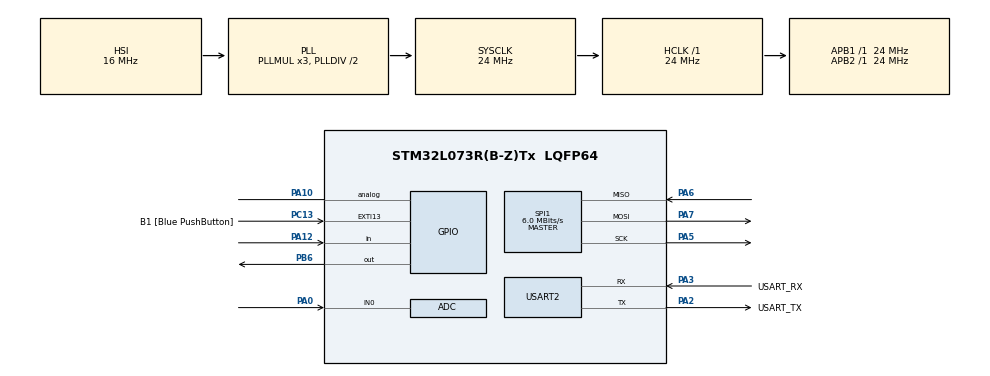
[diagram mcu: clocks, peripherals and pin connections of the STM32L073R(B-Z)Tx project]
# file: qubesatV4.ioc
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Mcu.Family=STM32L0
Mcu.Name=STM32L073R(B-Z)Tx
Mcu.Package=LQFP64
PA0.Mode=IN0
PA0.Signal=ADC_IN0
PA10.Signal=GPIO_Analog
PA12.Signal=GPIO_Input
PA13.GPIO_Label=TMS
PA13.Mode=Serial_Wire
PA13.Signal=SYS_SWDIO
PA14.GPIO_Label=TCK
PA14.Mode=Serial_Wire
PA14.Signal=SYS_SWCLK
PA2.GPIO_Label=USART_TX
PA2.Mode=Asynchronous
PA2.Signal=USART2_TX
PA3.GPIO_Label=USART_RX
PA3.Mode=Asynchronous
PA3.Signal=USART2_RX
PA5.Mode=Full_Duplex_Master
PA5.Signal=SPI1_SCK
PA6.Mode=Full_Duplex_Master
PA6.Signal=SPI1_MISO
PA7.Mode=Full_Duplex_Master
PA7.Signal=SPI1_MOSI
PB6.Signal=GPIO_Output
PC13.GPIO_Label=B1 [Blue PushButton]
PC13.GPIO_ModeDefaultEXTI=GPIO_MODE_IT_FALLING
PC13.Signal=GPXTI13
PC14-OSC32_IN.Mode=LSE-External-Oscillator
PC14-OSC32_IN.Signal=RCC_OSC32_IN
PC15-OSC32_OUT.Mode=LSE-External-Oscillator
PC15-OSC32_OUT.Signal=RCC_OSC32_OUT
PH0-OSC_IN.GPIO_Label=MCO
PH0-OSC_IN.Mode=HSE-External-Clock-Source
PH0-OSC_IN.Signal=RCC_OSC_IN
ProjectManager.HeapSize=0x200
ProjectManager.StackSize=0x400
ProjectManager.TargetToolchain=STM32CubeIDE
RCC.AHBFreq_Value=24000000
RCC.APB1Freq_Value=24000000
RCC.APB1TimFreq_Value=24000000
RCC.APB2Freq_Value=24000000
RCC.APB2TimFreq_Value=24000000
RCC.HCLKFreq_Value=24000000
RCC.HSE_VALUE=8000000
RCC.HSI16_VALUE=16000000
RCC.HSI48_VALUE=48000000
RCC.HSI_VALUE=16000000
RCC.MSI_VALUE=2097000
RCC.SYSCLKFreq_VALUE=24000000
RCC.SYSCLKSource=RCC_SYSCLKSOURCE_PLLCLK
RCC.VCOOutputFreq_Value=48000000
SPI1.BaudRatePrescaler=SPI_BAUDRATEPRESCALER_4
SPI1.CLKPhase=SPI_PHASE_1EDGE
SPI1.CLKPolarity=SPI_POLARITY_HIGH
SPI1.CalculateBaudRate=6.0 MBits/s
SPI1.DataSize=SPI_DATASIZE_8BIT
SPI1.Direction=SPI_DIRECTION_2LINES
SPI1.Mode=SPI_MODE_MASTER
SPI1.VirtualType=VM_MASTER
USART2.VirtualMode-Asynchronous=VM_ASYNC
board=NUCLEO-L073RZ

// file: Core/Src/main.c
/* USER CODE BEGIN Header */

/**
 ******************************************************************************
 * @file           : main.c
 * @brief          : Main program body
 ******************************************************************************
 * @attention
 *
 * <h2><center>&copy; Copyright (c) 2021 STMicroelectronics.
 * All rights reserved.</center></h2>
 *
 * This software component is licensed by ST under BSD 3-Clause license,
 * the "License"; You may not use this file except in compliance with the
 * License. You may obtain a copy of the License at:
 *                        opensource.org/licenses/BSD-3-Clause
 *
 ******************************************************************************
 */

/* USER CODE END Header */

#include "main.h"

/* USER CODE BEGIN Includes */

#include <stdarg.h>
#include <stdio.h>

/* USER CODE END Includes */

ADC_HandleTypeDef hadc;

SPI_HandleTypeDef hspi1;

UART_HandleTypeDef huart2;

void SystemClock_Config(void);

static void MX_GPIO_Init(void);

static void MX_USART2_UART_Init(void);

static void MX_SPI1_Init(void);

static void MX_ADC_Init(void);

/* User defined functions */

int measure_at_frequency(int frequency);

void printf_to_uart(char *format, ...);

void print_data_to_uart(unsigned *data, int len);

int main(void) {

    /* MCU
     * Configuration--------------------------------------------------------*/

    /* Reset of all peripherals, Initializes the Flash interface and the
     * Systick. */

    HAL_Init();

    /* Configure the system clock */

    SystemClock_Config();

    /* Initialize all configured peripherals */

    MX_GPIO_Init();
    MX_USART2_UART_Init();
    MX_SPI1_Init();
    MX_ADC_Init();

    /* USER CODE BEGIN 2 */

    // CS pin should default high

    HAL_GPIO_WritePin(GPIOB, GPIO_PIN_6, GPIO_PIN_SET);

    printf_to_uart("Starting SPI Test\r\n");

    HAL_Delay(500);  // Waiting for default register initialization of RF
                     // generator (synchronous turn on)

    Initialize_Microwave_Generator();

    // Maximum gain

    sendBytes(0x4DB8, 0b00101000);

    // Set divider to 1

    sendBytes(0x90, 0b00101000);

    // Ref Divider Register-Default value = 1h (Rdiv=1).

    sendBytes(0x1, 0b00010000);

    /// Make sure to remove!!

    // Set_VCO_Out_Divider(20);

    /* USER CODE END 2 */

    int num_cycles = 10;
    int samples_per_freq = 100;
    int freq_steps = 151;
    int start_frequency = 2800;
    int end_frequency = 2950;
    int step_size = (end_frequency - start_frequency + 1) / freq_steps;
    int set_freq;

    int contrast_arr_len = freq_steps * sizeof(unsigned);
    unsigned *contrast_arr;
    long unsigned high_sum;
    long unsigned low_sum;
    /* Infinite loop */

    /* USER CODE BEGIN WHILE */

    // int ms1 = HAL_GetTick();

    for (unsigned i = 0; i < num_cycles; i++) {
        set_freq = start_frequency;
        contrast_arr = (unsigned *)malloc(contrast_arr_len);
        for (unsigned j = 0; set_freq <= end_frequency; j++) {
            set_freq += step_size;
            high_sum = 0;
            low_sum = 0;
            for (unsigned sample_count = 0; sample_count < samples_per_freq;
                 sample_count++) {
                low_sum += measure_at_frequency(1500);
            }
            Set_VCO_Frequency(set_freq);
            HAL_Delay(10);
            for (unsigned sample_count = 0; sample_count < samples_per_freq;
                 sample_count++) {
                high_sum += measure_at_frequency(set_freq);
            }
            Set_VCO_Frequency(1500);
            contrast_arr[j] = (unsigned)(((float) high_sum / (samples_per_freq * low_sum)) * 1e9);

            // printf_to_uart("%d\r\n", contrast_arr[j]);
        }
        // HAL_UART_Transmit(&huart2, (uint8_t *)contrast_arr, contrast_arr_len,
        //   HAL_MAX_DELAY); // for production

        print_data_to_uart(contrast_arr, freq_steps);  // for testing

        // for (unsigned i = 0; i < freq_steps; i++)
        //     printf_to_uart("%d\r\n", contrast_arr[i]);  // for testing
    }

    // int ms2 = HAL_GetTick();
    // printf_to_uart("%d \r\n", ms2 - ms1);

    Set_VCO_Frequency(1500);
}

/* Does the measurement at arbitrary frequency and returns the photodiode
 * output. */
int measure_at_frequency(int frequency) {
    Set_VCO_Frequency(frequency);

    HAL_ADC_Start(&hadc);
    HAL_ADC_PollForConversion(&hadc, HAL_MAX_DELAY);
    return HAL_ADC_GetValue(&hadc);
}

/* Prints data to UART, usage is just like printf. */
void printf_to_uart(char *format, ...) {
    char print_buf[100] = {0};  // allocate a larger buffer
    char uart_buf[50] = {0};
    int print_len;

    va_list args;
    va_start(args, format);
    print_len = vsnprintf(print_buf, sizeof(print_buf), format, args);
    va_end(args);

    // copy the relevant portion of the print buffer to uart buffer
    int uart_buf_len = (print_len > 50) ? 50 : print_len;
    memcpy(uart_buf, print_buf, uart_buf_len);

    HAL_UART_Transmit(&huart2, (uint8_t *)uart_buf, uart_buf_len,
                      HAL_MAX_DELAY);
}

/* Prints 32-bit uint array to UART with newlines in between.
 * Prints 30 ints at a time. Slow but only used for testing.
 */
void print_data_to_uart(unsigned *data, int len) {
    unsigned MAX_INTS_PER_TRANSMIT = 30;  // pulled this out my ass ngl

    char buf[500];  // Create a buffer for the formatted string
    char uart_buf[500];

    for (unsigned printed = 0; printed < len;
         printed += MAX_INTS_PER_TRANSMIT) {
        for (unsigned i = 0; i < 500; i++) buf[i] = 0;
        for (unsigned i = 0; i < 500; i++) uart_buf[i] = 0;

        int l = 0;  // Keep track of the length of the formatted string
        int n;  // Keep track of the number of characters added to the formatted
                // string

        // Add each array element to the formatted string
        unsigned to_transmit = MAX_INTS_PER_TRANSMIT;
        if (len - printed < MAX_INTS_PER_TRANSMIT) {
            to_transmit = len - printed;
        }
        for (unsigned i = printed; i < printed + to_transmit; i++) {
            n = sprintf(buf + l, "%d\r\n", data[i]);
            if (n < 0 || l + n >= sizeof(buf)) {
                // Error handling: buffer overflow or snprintf error
                return;
            }
            l += n;
        }

        int uart_buf_len = (l > 500) ? 500 : l;
        memcpy(uart_buf, buf, uart_buf_len);

        // Print the formatted string
        HAL_UART_Transmit(&huart2, (uint8_t *)uart_buf, uart_buf_len,
                          HAL_MAX_DELAY);
    }
}

void SystemClock_Config(void)

{
    RCC_OscInitTypeDef RCC_OscInitStruct = {0};
    RCC_ClkInitTypeDef RCC_ClkInitStruct = {0};
    RCC_PeriphCLKInitTypeDef PeriphClkInit = {0};

    /** Configure the main internal regulator output voltage

    */

    __HAL_PWR_VOLTAGESCALING_CONFIG(PWR_REGULATOR_VOLTAGE_SCALE1);

    /** Initializes the RCC Oscillators according to the specified parameters

    * in the RCC_OscInitTypeDef structure.

    */

    RCC_OscInitStruct.OscillatorType = RCC_OSCILLATORTYPE_HSI;
    RCC_OscInitStruct.HSIState = RCC_HSI_ON;
    RCC_OscInitStruct.HSICalibrationValue = RCC_HSICALIBRATION_DEFAULT;
    RCC_OscInitStruct.PLL.PLLState = RCC_PLL_ON;
    RCC_OscInitStruct.PLL.PLLSource = RCC_PLLSOURCE_HSI;
    RCC_OscInitStruct.PLL.PLLMUL = RCC_PLLMUL_3;
    RCC_OscInitStruct.PLL.PLLDIV = RCC_PLLDIV_2;

    if (HAL_RCC_OscConfig(&RCC_OscInitStruct) != HAL_OK) {
        Error_Handler();
    }

    /** Initializes the CPU, AHB and APB buses clocks

    */

    RCC_ClkInitStruct.ClockType = RCC_CLOCKTYPE_HCLK | RCC_CLOCKTYPE_SYSCLK |
                                  RCC_CLOCKTYPE_PCLK1 | RCC_CLOCKTYPE_PCLK2;

    RCC_ClkInitStruct.SYSCLKSource = RCC_SYSCLKSOURCE_PLLCLK;
    RCC_ClkInitStruct.AHBCLKDivider = RCC_SYSCLK_DIV1;
    RCC_ClkInitStruct.APB1CLKDivider = RCC_HCLK_DIV1;
    RCC_ClkInitStruct.APB2CLKDivider = RCC_HCLK_DIV1;
    if (HAL_RCC_ClockConfig(&RCC_ClkInitStruct, FLASH_LATENCY_1) != HAL_OK) {
        Error_Handler();
    }

    PeriphClkInit.PeriphClockSelection = RCC_PERIPHCLK_USART2;
    PeriphClkInit.Usart2ClockSelection = RCC_USART2CLKSOURCE_PCLK1;

    if (HAL_RCCEx_PeriphCLKConfig(&PeriphClkInit) != HAL_OK) {
        Error_Handler();
    }
}

static void MX_ADC_Init(void) {

    ADC_ChannelConfTypeDef sConfig = {0};

    /** Configure the global features of the ADC (Clock, Resolution, Data
       Alignment and number of conversion)

    */

    hadc.Instance = ADC1;

    hadc.Init.OversamplingMode = DISABLE;

    hadc.Init.ClockPrescaler = ADC_CLOCK_SYNC_PCLK_DIV2;

    hadc.Init.Resolution = ADC_RESOLUTION_12B;

    hadc.Init.SamplingTime = ADC_SAMPLETIME_1CYCLE_5;

    hadc.Init.ScanConvMode = ADC_SCAN_DIRECTION_FORWARD;

    hadc.Init.DataAlign = ADC_DATAALIGN_RIGHT;

    hadc.Init.ContinuousConvMode = DISABLE;

    hadc.Init.DiscontinuousConvMode = DISABLE;

    hadc.Init.ExternalTrigConvEdge = ADC_EXTERNALTRIGCONVEDGE_NONE;

    hadc.Init.ExternalTrigConv = ADC_SOFTWARE_START;

    hadc.Init.DMAContinuousRequests = DISABLE;

    hadc.Init.EOCSelection = ADC_EOC_SINGLE_CONV;

    hadc.Init.Overrun = ADC_OVR_DATA_PRESERVED;

    hadc.Init.LowPowerAutoWait = DISABLE;

    hadc.Init.LowPowerFrequencyMode = DISABLE;

    hadc.Init.LowPowerAutoPowerOff = DISABLE;

    if (HAL_ADC_Init(&hadc) != HAL_OK)

    {
        Error_Handler();
    }

    /** Configure for the selected ADC regular channel to be converted.

    */

    sConfig.Channel = ADC_CHANNEL_0;

    sConfig.Rank = ADC_RANK_CHANNEL_NUMBER;

    if (HAL_ADC_ConfigChannel(&hadc, &sConfig) != HAL_OK)

    {
        Error_Handler();
    }

}

static void MX_SPI1_Init(void)

{

    /* SPI1 parameter configuration*/

    hspi1.Instance = SPI1;

    hspi1.Init.Mode = SPI_MODE_MASTER;

    hspi1.Init.Direction = SPI_DIRECTION_2LINES;

    hspi1.Init.DataSize = SPI_DATASIZE_8BIT;

    hspi1.Init.CLKPolarity = SPI_POLARITY_HIGH;

    hspi1.Init.CLKPhase = SPI_PHASE_1EDGE;

    hspi1.Init.NSS = SPI_NSS_SOFT;

    hspi1.Init.BaudRatePrescaler = SPI_BAUDRATEPRESCALER_4;

    hspi1.Init.FirstBit = SPI_FIRSTBIT_MSB;

    hspi1.Init.TIMode = SPI_TIMODE_DISABLE;

    hspi1.Init.CRCCalculation = SPI_CRCCALCULATION_DISABLE;

    hspi1.Init.CRCPolynomial = 7;

    if (HAL_SPI_Init(&hspi1) != HAL_OK)

    {
        Error_Handler();
    }

}

static void MX_USART2_UART_Init(void)

{

    huart2.Instance = USART2;

    huart2.Init.BaudRate = 115200;

    huart2.Init.WordLength = UART_WORDLENGTH_8B;

    huart2.Init.StopBits = UART_STOPBITS_1;

    huart2.Init.Parity = UART_PARITY_NONE;

    huart2.Init.Mode = UART_MODE_TX_RX;

    huart2.Init.HwFlowCtl = UART_HWCONTROL_NONE;

    huart2.Init.OverSampling = UART_OVERSAMPLING_16;

    huart2.Init.OneBitSampling = UART_ONE_BIT_SAMPLE_DISABLE;

    huart2.AdvancedInit.AdvFeatureInit = UART_ADVFEATURE_NO_INIT;

    if (HAL_UART_Init(&huart2) != HAL_OK)

    {
        Error_Handler();
    }

}

static void MX_GPIO_Init(void)

{
    GPIO_InitTypeDef GPIO_InitStruct = {0};

    /* GPIO Ports Clock Enable */

    __HAL_RCC_GPIOC_CLK_ENABLE();

    __HAL_RCC_GPIOH_CLK_ENABLE();

    __HAL_RCC_GPIOA_CLK_ENABLE();

    __HAL_RCC_GPIOB_CLK_ENABLE();

    /*Configure GPIO pin Output Level */

    HAL_GPIO_WritePin(GPIOB, GPIO_PIN_6, GPIO_PIN_RESET);

    /*Configure GPIO pin : B1_Pin */

    GPIO_InitStruct.Pin = B1_Pin;

    GPIO_InitStruct.Mode = GPIO_MODE_IT_FALLING;

    GPIO_InitStruct.Pull = GPIO_NOPULL;

    HAL_GPIO_Init(B1_GPIO_Port, &GPIO_InitStruct);

    /*Configure GPIO pin : PA10 */

    GPIO_InitStruct.Pin = GPIO_PIN_10;

    GPIO_InitStruct.Mode = GPIO_MODE_ANALOG;

    GPIO_InitStruct.Pull = GPIO_NOPULL;

    HAL_GPIO_Init(GPIOA, &GPIO_InitStruct);

    /*Configure GPIO pin : PA12 */

    GPIO_InitStruct.Pin = GPIO_PIN_12;

    GPIO_InitStruct.Mode = GPIO_MODE_INPUT;

    GPIO_InitStruct.Pull = GPIO_NOPULL;

    HAL_GPIO_Init(GPIOA, &GPIO_InitStruct);

    /*Configure GPIO pin : PB6 */

    GPIO_InitStruct.Pin = GPIO_PIN_6;

    GPIO_InitStruct.Mode = GPIO_MODE_OUTPUT_PP;

    GPIO_InitStruct.Pull = GPIO_NOPULL;

    GPIO_InitStruct.Speed = GPIO_SPEED_FREQ_LOW;

    HAL_GPIO_Init(GPIOB, &GPIO_InitStruct);
}

void Set_VCO_Out_Divider(int divisor) {
    uint16_t reg_5_bottom_bits = 0b0010000;

    sendBytes(divisor << 7 | reg_5_bottom_bits, 0b00101000);

    sendBytes(0x0, 0b00101000);
}

/* USER CODE BEGIN 4 */

void Set_VCO_Frequency(int freq) {
    int xtal = 50;

    int integer_data = freq / xtal;

    int frac_mod = freq % xtal;

    double frac_value = 1.0 * freq / xtal - integer_data;

    int frac_data = frac_value * pow(2, 24);

    uint8_t reg_5 = 0b00101000;

    // REG 3 1C

    uint8_t reg_3 = 0b00011000;

    sendBytes(integer_data, reg_3);

    // REG 5 0

    sendBytes(0, reg_5);

    // REG 4 0

    uint8_t reg_4 = 0b00100000;

    sendBytes(frac_data, reg_4);
}

void sendBytes(int data, uint8_t addressByte) {
    uint8_t firstIntDataByte = data & 0xff;

    data = data >> 8;

    uint8_t secondIntDataByte = data & 0xff;

    data = data >> 8;

    uint8_t thirdIntDataByte = data & 0xff;

    HAL_GPIO_WritePin(GPIOB, GPIO_PIN_6, GPIO_PIN_RESET);  // SEN Deassert

    HAL_SPI_Transmit(&hspi1, (uint8_t *)&thirdIntDataByte, 1, 100);

    HAL_SPI_Transmit(&hspi1, (uint8_t *)&secondIntDataByte, 1, 100);

    HAL_SPI_Transmit(&hspi1, (uint8_t *)&firstIntDataByte, 1, 100);

    HAL_SPI_Transmit(&hspi1, (uint8_t *)&addressByte, 1, 100);

    HAL_GPIO_WritePin(GPIOB, GPIO_PIN_6, GPIO_PIN_SET);  // SEN Assert
}

void Initialize_Microwave_Generator(void) {
    uint8_t VarZero = 0b00000000;

    uint8_t VarOne = 0b00100000;

    uint8_t VarTwo = 0b00000010;

    uint8_t VarThree = 0b00001000;

    uint8_t VarFour = 0b00000001;

    uint8_t VarFive = 0b00010000;

    uint8_t VarSix = 0b10010000;

    uint8_t VarSeven = 0b00101000;

    uint8_t VarEight = 0b00001111;

    uint8_t VarNine = 0b10011000;

    uint8_t VarOneZero = 0b01001011;

    uint8_t VarOneOne = 0b00111000;

    uint8_t VarOneTwo = 0b01001010;

    uint8_t VarOneThree = 0b00110000;

    uint8_t VarOneFour = 0b01001101;

    uint8_t VarOneFive = 0b11000001;

    uint8_t VarOneSix = 0b10111110;

    uint8_t VarOneSeven = 0b11111111;

    uint8_t VarOneEight = 0b01000000;

    uint8_t VarOneNine = 0b00111111;

    uint8_t VarTwoZero = 0b11111110;

    uint8_t VarTwoOne = 0b11111101;

    uint8_t VarTwoTwo = 0b01001000;

    uint8_t VarTwoThree = 0b01000110;

    uint8_t VarTwoFour = 0b01010000;

    uint8_t VarTwoFive = 0b01001111;

    uint8_t VarTwoSix = 0b10000000;

    uint8_t VarTwoSeven = 0b01100001;

    uint8_t VarTwoEight = 0b01011000;

    uint8_t VarTwoNine = 0b01100000;

    uint8_t VarThreeZero = 0b10000001;

    uint8_t VarThreeOne = 0b01111000;

    uint8_t VarThreeTwo = 0b00101010;

    uint8_t VarThreeThree = 0b00011000;

    uint8_t VarThreeFour = 0b01100110;

    // REG 0 20

    // RESET command.

    HAL_GPIO_WritePin(GPIOB, GPIO_PIN_6, GPIO_PIN_RESET);  // SEN Deassert

    HAL_SPI_Transmit(&hspi1, (uint8_t *)&VarZero, 1, 100);

    HAL_SPI_Transmit(&hspi1, (uint8_t *)&VarZero, 1, 100);

    HAL_SPI_Transmit(&hspi1, (uint8_t *)&VarOne, 1, 100);

    HAL_SPI_Transmit(&hspi1, (uint8_t *)&VarZero, 1, 100);

    HAL_GPIO_WritePin(GPIOB, GPIO_PIN_6, GPIO_PIN_SET);  // SEN Assert

    HAL_Delay(50);

    // REG 1 2

    // Default = 2.  This value assigns PLL Chip Enable control to the SPI Reg 1
    // [1], 1 enabled, 0 disabled.  To assign PLL CE control to CE pin, write
    // Reg 1[0]=1.

    HAL_GPIO_WritePin(GPIOB, GPIO_PIN_6, GPIO_PIN_RESET);  // SEN Deassert

    HAL_SPI_Transmit(&hspi1, (uint8_t *)&VarZero, 1, 100);

    HAL_SPI_Transmit(&hspi1, (uint8_t *)&VarZero, 1, 100);

    HAL_SPI_Transmit(&hspi1, (uint8_t *)&VarTwo, 1, 100);

    HAL_SPI_Transmit(&hspi1, (uint8_t *)&VarThree, 1, 100);

    HAL_GPIO_WritePin(GPIOB, GPIO_PIN_6, GPIO_PIN_SET);  // SEN Assert

    HAL_Delay(50);

    // REG 2 1

    // Ref Divider Register-Default value = 1h (Rdiv=1). Program as needed.

    HAL_GPIO_WritePin(GPIOB, GPIO_PIN_6, GPIO_PIN_RESET);  // SEN Deassert

    HAL_SPI_Transmit(&hspi1, (uint8_t *)&VarZero, 1, 100);

    HAL_SPI_Transmit(&hspi1, (uint8_t *)&VarZero, 1, 100);

    HAL_SPI_Transmit(&hspi1, (uint8_t *)&VarFour, 1, 100);

    HAL_SPI_Transmit(&hspi1, (uint8_t *)&VarFive, 1, 100);

    HAL_GPIO_WritePin(GPIOB, GPIO_PIN_6, GPIO_PIN_SET);  // SEN Assert

    HAL_Delay(50);

    // REG 5 90

    // Reg02 = 000000001 = fo (VCO output Div-by-1);

    HAL_GPIO_WritePin(GPIOB, GPIO_PIN_6, GPIO_PIN_RESET);  // SEN Deassert

    HAL_SPI_Transmit(&hspi1, (uint8_t *)&VarZero, 1, 100);

    HAL_SPI_Transmit(&hspi1, (uint8_t *)&VarZero, 1, 100);

    HAL_SPI_Transmit(&hspi1, (uint8_t *)&VarSix, 1, 100);

    HAL_SPI_Transmit(&hspi1, (uint8_t *)&VarSeven, 1, 100);

    HAL_GPIO_WritePin(GPIOB, GPIO_PIN_6, GPIO_PIN_SET);  // SEN Assert

    HAL_Delay(50);

    // REG 5 F98

    // Reg03 = 000011111 = Hi Perf, RF_P & RF_N enabled, 5dB RL,

    HAL_GPIO_WritePin(GPIOB, GPIO_PIN_6, GPIO_PIN_RESET);  // SEN Deassert

    HAL_SPI_Transmit(&hspi1, (uint8_t *)&VarZero, 1, 100);

    HAL_SPI_Transmit(&hspi1, (uint8_t *)&VarEight, 1, 100);

    HAL_SPI_Transmit(&hspi1, (uint8_t *)&VarNine, 1, 100);

    HAL_SPI_Transmit(&hspi1, (uint8_t *)&VarSeven, 1, 100);

    HAL_GPIO_WritePin(GPIOB, GPIO_PIN_6, GPIO_PIN_SET);  // SEN Assert

    HAL_Delay(50);

    // REG 5 4B38

    // Reg07 = 010010110 = o/p -6dB.  For maximum o/p power program 4DB8h.

    HAL_GPIO_WritePin(GPIOB, GPIO_PIN_6, GPIO_PIN_RESET);  // SEN Deassert

    HAL_SPI_Transmit(&hspi1, (uint8_t *)&VarZero, 1, 100);

    HAL_SPI_Transmit(&hspi1, (uint8_t *)&VarOneZero, 1, 100);

    HAL_SPI_Transmit(&hspi1, (uint8_t *)&VarOneOne, 1, 100);

    HAL_SPI_Transmit(&hspi1, (uint8_t *)&VarSeven, 1, 100);

    HAL_GPIO_WritePin(GPIOB, GPIO_PIN_6, GPIO_PIN_SET);  // SEN Assert

    HAL_Delay(50);

    // REG 5 0

    // Close out VCO register programming by writing Reg 5 = 0.

    HAL_GPIO_WritePin(GPIOB, GPIO_PIN_6, GPIO_PIN_RESET);  // SEN Deassert

    HAL_SPI_Transmit(&hspi1, (uint8_t *)&VarZero, 1, 100);

    HAL_SPI_Transmit(&hspi1, (uint8_t *)&VarZero, 1, 100);

    HAL_SPI_Transmit(&hspi1, (uint8_t *)&VarZero, 1, 100);

    HAL_SPI_Transmit(&hspi1, (uint8_t *)&VarSeven, 1, 100);

    HAL_GPIO_WritePin(GPIOB, GPIO_PIN_6, GPIO_PIN_SET);  // SEN Assert

    HAL_Delay(50);

    // REG 6 F4A

    // Delta-Sigma Modulator Configuration Register. Program this value for Frac
    // Mode.

    HAL_GPIO_WritePin(GPIOB, GPIO_PIN_6, GPIO_PIN_RESET);  // SEN Deassert

    HAL_SPI_Transmit(&hspi1, (uint8_t *)&VarZero, 1, 100);

    HAL_SPI_Transmit(&hspi1, (uint8_t *)&VarEight, 1, 100);

    HAL_SPI_Transmit(&hspi1, (uint8_t *)&VarOneTwo, 1, 100);

    HAL_SPI_Transmit(&hspi1, (uint8_t *)&VarOneThree, 1, 100);

    HAL_GPIO_WritePin(GPIOB, GPIO_PIN_6, GPIO_PIN_SET);  // SEN Assert

    HAL_Delay(50);

    // REG 7 14D

    // 14Dh is the default value for LD programming (correct for 50MHz
    // comparison). For different configurations, especially higher PFD rates,
    // this may need to change.

    HAL_GPIO_WritePin(GPIOB, GPIO_PIN_6, GPIO_PIN_RESET);  // SEN Deassert

    HAL_SPI_Transmit(&hspi1, (uint8_t *)&VarZero, 1, 100);

    HAL_SPI_Transmit(&hspi1, (uint8_t *)&VarFour, 1, 100);

    HAL_SPI_Transmit(&hspi1, (uint8_t *)&VarOneFour, 1, 100);

    HAL_SPI_Transmit(&hspi1, (uint8_t *)&VarOneOne, 1, 100);

    HAL_GPIO_WritePin(GPIOB, GPIO_PIN_6, GPIO_PIN_SET);  // SEN Assert

    HAL_Delay(50);

    // REG 8 C1BEFF

    // Default value = C1BEFFh.  No need to program.

    HAL_GPIO_WritePin(GPIOB, GPIO_PIN_6, GPIO_PIN_RESET);  // SEN Deassert

    HAL_SPI_Transmit(&hspi1, (uint8_t *)&VarOneFive, 1, 100);

    HAL_SPI_Transmit(&hspi1, (uint8_t *)&VarOneSix, 1, 100);

    HAL_SPI_Transmit(&hspi1, (uint8_t *)&VarOneSeven, 1, 100);

    HAL_SPI_Transmit(&hspi1, (uint8_t *)&VarOneEight, 1, 100);

    HAL_GPIO_WritePin(GPIOB, GPIO_PIN_6, GPIO_PIN_SET);  // SEN Assert

    HAL_Delay(50);

    // REG 9 3FFEFD

    // CP Register-Program as needed. 3FFEFDh = 2.54mA CP current with 635uA Up
    // CP Offset current.

    HAL_GPIO_WritePin(GPIOB, GPIO_PIN_6, GPIO_PIN_RESET);  // SEN Deassert

    HAL_SPI_Transmit(&hspi1, (uint8_t *)&VarOneNine, 1, 100);

    HAL_SPI_Transmit(&hspi1, (uint8_t *)&VarTwoZero, 1, 100);

    HAL_SPI_Transmit(&hspi1, (uint8_t *)&VarTwoOne, 1, 100);

    HAL_SPI_Transmit(&hspi1, (uint8_t *)&VarTwoTwo, 1, 100);

    HAL_GPIO_WritePin(GPIOB, GPIO_PIN_6, GPIO_PIN_SET);  // SEN Assert

    HAL_Delay(50);

    // REG A 2046

    // VCO Tuning Configuration Register-Program this value.

    HAL_GPIO_WritePin(GPIOB, GPIO_PIN_6, GPIO_PIN_RESET);  // SEN Deassert

    HAL_SPI_Transmit(&hspi1, (uint8_t *)&VarZero, 1, 100);

    HAL_SPI_Transmit(&hspi1, (uint8_t *)&VarOne, 1, 100);

    HAL_SPI_Transmit(&hspi1, (uint8_t *)&VarTwoThree, 1, 100);

    HAL_SPI_Transmit(&hspi1, (uint8_t *)&VarTwoFour, 1, 100);

    HAL_GPIO_WritePin(GPIOB, GPIO_PIN_6, GPIO_PIN_SET);  // SEN Assert

    HAL_Delay(50);

    // REG B 4F8061

    // PFD/CP Control Register.  Default value = F8061h.  4F8061h sets LD/SDO
    // output level to 3.3V from 1.8V default (bit[22]=1 sets 3.3V output
    // level).

    HAL_GPIO_WritePin(GPIOB, GPIO_PIN_6, GPIO_PIN_RESET);  // SEN Deassert

    HAL_SPI_Transmit(&hspi1, (uint8_t *)&VarTwoFive, 1, 100);

    HAL_SPI_Transmit(&hspi1, (uint8_t *)&VarTwoSix, 1, 100);

    HAL_SPI_Transmit(&hspi1, (uint8_t *)&VarTwoSeven, 1, 100);

    HAL_SPI_Transmit(&hspi1, (uint8_t *)&VarTwoEight, 1, 100);

    HAL_GPIO_WritePin(GPIOB, GPIO_PIN_6, GPIO_PIN_SET);  // SEN Assert

    HAL_Delay(50);

    // REG C 0

    // Exact Frequency register.  Default value =0h.  No need to program if not
    // using Exact Frequency Mode.

    HAL_GPIO_WritePin(GPIOB, GPIO_PIN_6, GPIO_PIN_RESET);  // SEN Deassert

    HAL_SPI_Transmit(&hspi1, (uint8_t *)&VarZero, 1, 100);

    HAL_SPI_Transmit(&hspi1, (uint8_t *)&VarZero, 1, 100);

    HAL_SPI_Transmit(&hspi1, (uint8_t *)&VarZero, 1, 100);

    HAL_SPI_Transmit(&hspi1, (uint8_t *)&VarTwoNine, 1, 100);

    HAL_GPIO_WritePin(GPIOB, GPIO_PIN_6, GPIO_PIN_SET);  // SEN Assert

    HAL_Delay(50);

    // REG F 81

    // Default vaue =1. 81h configures LD/SDO pin to output LD status always,
    // except during SPI reads when the pin is automatically mux'ed to output
    // the serial data.

    HAL_GPIO_WritePin(GPIOB, GPIO_PIN_6, GPIO_PIN_RESET);  // SEN Deassert

    HAL_SPI_Transmit(&hspi1, (uint8_t *)&VarZero, 1, 100);

    HAL_SPI_Transmit(&hspi1, (uint8_t *)&VarZero, 1, 100);

    HAL_SPI_Transmit(&hspi1, (uint8_t *)&VarThreeZero, 1, 100);

    HAL_SPI_Transmit(&hspi1, (uint8_t *)&VarThreeOne, 1, 100);

    HAL_GPIO_WritePin(GPIOB, GPIO_PIN_6, GPIO_PIN_SET);  // SEN Assert

    HAL_Delay(50);

    // REG 3 2A

    // Integer VCO Divider Register-Progarm as needed to set frequency.

    HAL_GPIO_WritePin(GPIOB, GPIO_PIN_6, GPIO_PIN_RESET);  // SEN Deassert

    HAL_SPI_Transmit(&hspi1, (uint8_t *)&VarZero, 1, 100);

    HAL_SPI_Transmit(&hspi1, (uint8_t *)&VarZero, 1, 100);

    HAL_SPI_Transmit(&hspi1, (uint8_t *)&VarThreeTwo, 1, 100);

    HAL_SPI_Transmit(&hspi1, (uint8_t *)&VarThreeThree, 1, 100);

    HAL_GPIO_WritePin(GPIOB, GPIO_PIN_6, GPIO_PIN_SET);  // SEN Assert

    HAL_Delay(50);

    // REG 4 666666

    // Fractional VCO Divider Register-Program as needed to set frequency. When
    // this register is written, a VCO auto-cal is initiated.

    HAL_GPIO_WritePin(GPIOB, GPIO_PIN_6, GPIO_PIN_RESET);  // SEN Deassert

    HAL_SPI_Transmit(&hspi1, (uint8_t *)&VarThreeFour, 1, 100);

    HAL_SPI_Transmit(&hspi1, (uint8_t *)&VarThreeFour, 1, 100);

    HAL_SPI_Transmit(&hspi1, (uint8_t *)&VarThreeFour, 1, 100);

    HAL_SPI_Transmit(&hspi1, (uint8_t *)&VarOne, 1, 100);

    HAL_GPIO_WritePin(GPIOB, GPIO_PIN_6, GPIO_PIN_SET);  // SEN Assert

    HAL_Delay(50);
}

/* USER CODE END 4 */

void Error_Handler(void)

{
    /* USER CODE BEGIN Error_Handler_Debug */

    /* User can add his own implementation to report the HAL error return state
     */

    __disable_irq();

    while (1)

    {
    }

    /* USER CODE END Error_Handler_Debug */
}

#ifdef USE_FULL_ASSERT

/**

  * @brief  Reports the name of the source file and the source line number

  *         where the assert_param error has occurred.

  * @param  file: pointer to the source file name

  * @param  line: assert_param error line source number

  * @retval None

  */

void assert_failed(uint8_t *file, uint32_t line)

{
    /* USER CODE BEGIN 6 */

    /* User can add his own implementation to report the file name and line
       number,

       ex: printf("Wrong parameters value: file %s on line %d\r\n", file, line)
     */

    /* USER CODE END 6 */
}

#endif /* USE_FULL_ASSERT */

/************************ (C) COPYRIGHT STMicroelectronics *****END OF FILE****/
